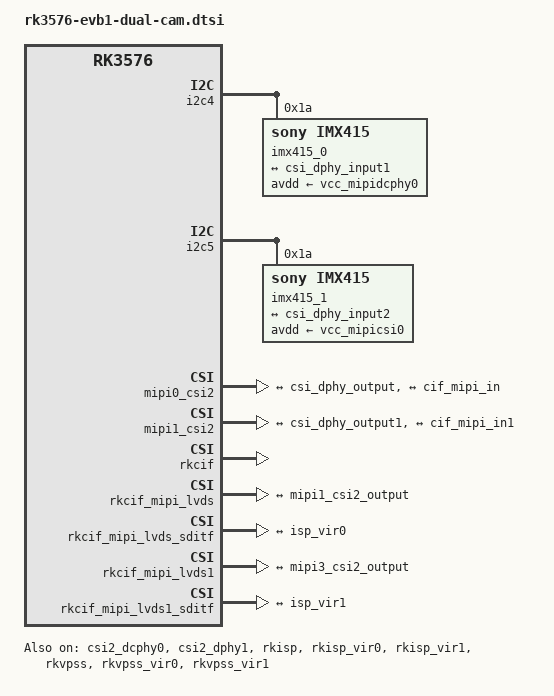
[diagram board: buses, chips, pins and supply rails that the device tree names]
// SPDX-License-Identifier: (GPL-2.0+ OR MIT)
/*
 * Copyright (c) 2024 Rockchip Electronics Co., Ltd.
 *
 * Version  Sensor  I2C_ADDR   Lanes
 * v1.0.0   imx415   0x1a    lane0~1(dphy1)
 *          imx415   0x1a    lane2~3(dphy2)
 */

&csi2_dcphy0 {
	status = "okay";

	ports {
		#address-cells = <1>;
		#size-cells = <0>;

		port@0 {
			reg = <0>;
			#address-cells = <1>;
			#size-cells = <0>;

			csi_dphy_input1: endpoint@1 {
				reg = <1>;
				remote-endpoint = <&imx415_out0>;
				data-lanes = <1 2 3 4>;
			};
		};

		port@1 {
			reg = <1>;
			#address-cells = <1>;
			#size-cells = <0>;

			csi_dphy_output: endpoint@0 {
				reg = <0>;
				remote-endpoint = <&mipi1_csi2_input>;
			};
		};
	};
};

&csi2_dphy1 {
	status = "okay";

	ports {
		#address-cells = <1>;
		#size-cells = <0>;

		port@0 {
			reg = <0>;
			#address-cells = <1>;
			#size-cells = <0>;

			csi_dphy_input2: endpoint@3 {
				reg = <3>;
				remote-endpoint = <&imx415_out1>;
				data-lanes = <1 2 3 4>;
			};
		};

		port@1 {
			reg = <1>;
			#address-cells = <1>;
			#size-cells = <0>;

			csi_dphy_output1: endpoint@0 {
				reg = <0>;
				remote-endpoint = <&mipi3_csi2_input>;
			};
		};
	};
};


&i2c4 {
	status = "okay";
	pinctrl-0 = <&i2c4m3_xfer>;

	imx415_0: imx415@1a {
		compatible = "sony,imx415";
		reg = <0x1a>;
		clocks = <&cru CLK_MIPI_CAMERAOUT_M0>;
		clock-names = "xvclk";
		pinctrl-names = "default";
		pinctrl-0 = <&cam_clk0m0_clk0>;
		power-domains = <&power RK3576_PD_VI>;
		avdd-supply = <&vcc_mipidcphy0>;
		// reset-gpios = <&gpio4 RK_PC6 GPIO_ACTIVE_LOW>;
		rockchip,camera-module-index = <0>;
		rockchip,camera-module-facing = "back";
		rockchip,camera-module-name = "CMK-OT2022-PX1";
		rockchip,camera-module-lens-name = "IR0147-50IRC-8M-F20";
		port {
			imx415_out0: endpoint {
				remote-endpoint = <&csi_dphy_input1>;
				data-lanes = <1 2 3 4>;
			};
		};
	};
};

&i2c5 {
	status = "okay";
	pinctrl-0 = <&i2c5m3_xfer>;

	imx415_1: imx415@1a {
		compatible = "sony,imx415";
		reg = <0x1a>;
		clocks = <&cru CLK_MIPI_CAMERAOUT_M1>;
		clock-names = "xvclk";
		pinctrl-names = "default";
		pinctrl-0 = <&cam_clk1m0_clk1>;
		power-domains = <&power RK3576_PD_VI>;
		avdd-supply = <&vcc_mipicsi0>;
		// reset-gpios = <&gpio4 RK_PC6 GPIO_ACTIVE_LOW>;
		rockchip,camera-module-index = <1>;
		rockchip,camera-module-facing = "back";
		rockchip,camera-module-name = "CMK-OT2022-PX1";
		rockchip,camera-module-lens-name = "IR0147-50IRC-8M-F20";
		port {
			imx415_out1: endpoint {
				remote-endpoint = <&csi_dphy_input2>;
				data-lanes = <1 2 3 4>;
			};
		};
	};
};

&mipi0_csi2 {
	status = "okay";

	ports {
		#address-cells = <1>;
		#size-cells = <0>;

		port@0 {
			reg = <0>;
			#address-cells = <1>;
			#size-cells = <0>;

			mipi1_csi2_input: endpoint@1 {
				reg = <1>;
				remote-endpoint = <&csi_dphy_output>;
			};
		};

		port@1 {
			reg = <1>;
			#address-cells = <1>;
			#size-cells = <0>;

			mipi1_csi2_output: endpoint@0 {
				reg = <0>;
				remote-endpoint = <&cif_mipi_in>;
			};
		};
	};
};

&mipi1_csi2 {
	status = "okay";

	ports {
		#address-cells = <1>;
		#size-cells = <0>;

		port@0 {
			reg = <0>;
			#address-cells = <1>;
			#size-cells = <0>;

			mipi3_csi2_input: endpoint@1 {
				reg = <1>;
				remote-endpoint = <&csi_dphy_output1>;
			};
		};

		port@1 {
			reg = <1>;
			#address-cells = <1>;
			#size-cells = <0>;

			mipi3_csi2_output: endpoint@0 {
				reg = <0>;
				remote-endpoint = <&cif_mipi_in1>;
			};
		};
	};
};

&rkcif {
	status = "okay";
};

&rkcif_mipi_lvds {
	status = "okay";

	port {
		/* MIPI CSI-2 endpoint */
		cif_mipi_in: endpoint {
			remote-endpoint = <&mipi1_csi2_output>;
		};
	};
};

&rkcif_mipi_lvds_sditf {
	status = "okay";

	port {
		/* MIPI CSI-2 endpoint */
		mipi_lvds_sditf: endpoint {
			remote-endpoint = <&isp_vir0>;
		};
	};
};

&rkcif_mipi_lvds1 {
	status = "okay";

	port {
		/* MIPI CSI-2 endpoint */
		cif_mipi_in1: endpoint {
			remote-endpoint = <&mipi3_csi2_output>;
		};
	};
};

&rkcif_mipi_lvds1_sditf {
	status = "okay";

	port {
		mipi1_lvds_sditf: endpoint {
			remote-endpoint = <&isp_vir1>;
		};
	};
};

&rkcif_mmu {
	status = "okay";
};

&rkisp {
	status = "okay";
};

&rkisp_mmu {
	status = "okay";
};

&rkisp_vir0 {
	status = "okay";

	port@0 {
		#address-cells = <1>;
		#size-cells = <0>;

		isp_vir0: endpoint@0 {
			reg = <0>;
			remote-endpoint = <&mipi_lvds_sditf>;
		};
	};
};

&rkisp_vir1 {
	status = "okay";

	port {
		#address-cells = <1>;
		#size-cells = <0>;

		isp_vir1: endpoint@0 {
			reg = <0>;
			remote-endpoint = <&mipi1_lvds_sditf>;
		};
	};
};

&rkvpss {
	status = "okay";
};

&rkvpss_mmu {
	status = "okay";
};

&rkvpss_vir0 {
	status = "okay";
};

&rkvpss_vir1 {
	status = "okay";
};
